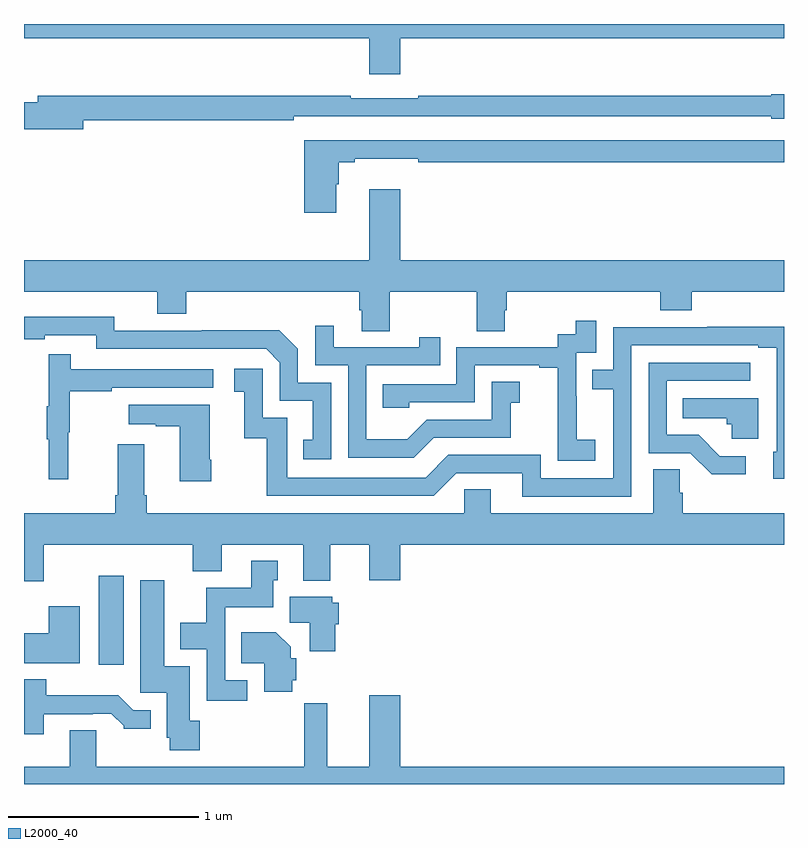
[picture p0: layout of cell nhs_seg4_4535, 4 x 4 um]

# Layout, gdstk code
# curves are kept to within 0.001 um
import gdstk
lib = gdstk.Library(unit=1e-6, precision=1e-09)
def R(c, l, rs):  # rectangles x0, y0, x1, y1
    for r in rs: c.add(gdstk.rectangle(r[:2], r[2:], *l))
def P(c, l, *ps):  # polygons
    for p in ps: c.add(gdstk.Polygon(p, *l))
L2000_40 = (2000, 40)

nhs_seg4_4535 = lib.new_cell('nhs_seg4_4535')
R(nhs_seg4_4535, L2000_40, [(355.394,789.528,355.525,789.997)])
P(nhs_seg4_4535, L2000_40, [(356.98,792.824),(359,792.824),(359,792.9),(355,792.9),(355,792.824),(356.816,792.824),(356.816,792.636),(356.98,792.636)],
  [(355.312,792.394),(356.42,792.394),(356.42,792.414),(358.932,792.414),(358.932,792.401),(359,792.401),(359,792.531),(358.932,792.531),(358.932,792.523),(357.076,792.523),(357.076,792.51),(356.72,792.51),(356.72,792.523),(355.073,792.523),(355.073,792.489),(355,792.489),(355,792.347),(355.312,792.347)],
  [(356.644,792.057),(356.657,792.057),(356.657,792.172),(356.74,792.172),(356.74,792.191),(357.076,792.191),(357.076,792.172),(359,792.172),(359,792.288),(356.474,792.288),(356.474,791.907),(356.644,791.907)],
  [(356.925,791.492),(357.382,791.492),(357.382,791.284),(357.529,791.284),(357.529,791.394),(357.542,791.394),(357.542,791.492),(358.349,791.492),(358.349,791.393),(358.514,791.393),(358.514,791.492),(359,791.492),(359,791.656),(356.98,791.656),(356.98,792.031),(356.816,792.031),(356.816,791.656),(355,791.656),(355,791.492),(355.7,791.492),(355.7,791.375),(355.853,791.375),(355.853,791.492),(356.765,791.492),(356.765,791.394),(356.777,791.394),(356.777,791.284),(356.925,791.284)],
  [(356.616,791.013),(356.442,791.013),(356.442,791.19),(356.344,791.288),(355.936,791.288),(355.936,791.286),(355.476,791.286),(355.476,791.359),(355,791.358),(355,791.242),(355.108,791.242),(355.108,791.262),(355.38,791.262),(355.38,791.19),(356.274,791.19),(356.346,791.118),(356.346,790.917),(356.519,790.917),(356.519,790.713),(356.47,790.713),(356.47,790.608),(356.616,790.608)],
  [(358.006,790.711),(357.908,790.711),(357.908,790.94),(357.906,790.94),(357.906,791.169),(358.011,791.169),(358.011,791.338),(357.903,791.338),(357.903,791.268),(357.81,791.268),(357.81,791.199),(357.276,791.199),(357.276,791.004),(356.887,791.004),(356.887,790.881),(357.027,790.881),(357.027,790.908),(357.372,790.908),(357.372,791.103),(357.713,791.103),(357.713,791.091),(357.809,791.091),(357.809,790.807),(357.808,790.807),(357.808,790.601),(358.006,790.601)],
  [(357.157,790.722),(357.561,790.722),(357.561,790.907),(357.61,790.907),(357.61,791.017),(357.462,791.017),(357.462,790.818),(357.12,790.818),(357.016,790.714),(356.802,790.714),(356.802,791.103),(357.191,791.103),(357.191,791.251),(357.08,791.251),(357.08,791.199),(356.629,791.199),(356.629,791.311),(356.532,791.311),(356.532,791.103),(356.706,791.103),(356.706,790.617),(357.052,790.617)],
  [(358.197,791.208),(358.865,791.208),(358.865,791.196),(358.962,791.196),(358.962,790.65),(358.943,790.65),(358.943,790.506),(359,790.506),(359,791.306),(358.597,791.306),(358.597,791.304),(358.101,791.304),(358.101,791.079),(357.991,791.079),(357.991,790.978),(358.101,790.978),(358.101,790.509),(357.72,790.509),(357.72,790.632),(357.234,790.632),(357.114,790.512),(356.385,790.512),(356.385,790.827),(356.256,790.827),(356.256,791.086),(356.106,791.086),(356.106,790.965),(356.159,790.965),(356.159,790.719),(356.277,790.719),(356.277,790.416),(357.156,790.416),(357.276,790.536),(357.623,790.536),(357.623,790.413),(358.197,790.413)],
  [(355.232,790.752),(355.24,790.752),(355.24,790.966),(355.463,790.966),(355.463,790.986),(355.996,790.986),(355.996,791.082),(355.247,791.082),(355.247,791.161),(355.13,791.161),(355.13,790.889),(355.119,790.889),(355.119,790.715),(355.13,790.715),(355.13,790.503),(355.232,790.503)],
  [(358.798,790.626),(358.663,790.626),(358.552,790.737),(358.383,790.737),(358.383,791.022),(358.822,791.022),(358.822,791.118),(358.287,791.118),(358.287,790.641),(358.506,790.641),(358.619,790.529),(358.798,790.529)],
  [(358.864,790.93),(358.468,790.93),(358.468,790.826),(358.699,790.826),(358.699,790.794),(358.725,790.794),(358.725,790.718),(358.864,790.718)],
  [(355.986,790.606),(355.978,790.606),(355.978,790.897),(355.551,790.897),(355.551,790.793),(355.694,790.793),(355.694,790.783),(355.82,790.783),(355.82,790.494),(355.986,790.494)],
  [(355.889,790.019),(356.041,790.019),(356.041,790.16),(356.471,790.16),(356.471,789.971),(356.611,789.971),(356.611,790.16),(356.816,790.16),(356.816,789.972),(356.98,789.972),(356.98,790.16),(359,790.16),(359,790.324),(358.466,790.324),(358.466,790.433),(358.452,790.433),(358.452,790.556),(358.313,790.556),(358.313,790.324),(357.457,790.324),(357.457,790.451),(357.318,790.451),(357.318,790.324),(355.646,790.324),(355.646,790.42),(355.633,790.42),(355.633,790.687),(355.493,790.687),(355.493,790.42),(355.481,790.42),(355.481,790.324),(355,790.324),(355,789.966),(355.105,789.966),(355.105,790.16),(355.889,790.16)],
  [(356.176,789.447),(356.058,789.447),(356.058,789.83),(356.311,789.83),(356.311,789.972),(356.335,789.972),(356.335,790.075),(356.195,790.075),(356.195,789.934),(355.96,789.934),(355.96,789.748),(355.823,789.748),(355.823,789.608),(355.962,789.608),(355.962,789.339),(356.176,789.339)],
  [(355.925,789.234),(355.873,789.234),(355.873,789.52),(355.738,789.52),(355.738,789.973),(355.613,789.973),(355.613,789.381),(355.751,789.381),(355.751,789.144),(355.768,789.144),(355.768,789.078),(355.925,789.078)],
  [(356.639,789.741),(356.657,789.741),(356.657,789.855),(356.622,789.855),(356.622,789.886),(356.399,789.886),(356.399,789.748),(356.505,789.748),(356.505,789.6),(356.639,789.6)],
  [(355.294,789.835),(355.13,789.835),(355.13,789.694),(355,789.694),(355,789.536),(355.294,789.536)],
  [(356.412,789.447),(356.433,789.447),(356.433,789.561),(356.404,789.561),(356.404,789.622),(356.326,789.7),(356.143,789.7),(356.143,789.536),(356.264,789.536),(356.264,789.386),(356.412,789.386)],
  [(355.105,789.267),(355.361,789.267),(355.361,789.27),(355.46,789.27),(355.524,789.206),(355.524,789.191),(355.666,789.191),(355.666,789.288),(355.575,789.288),(355.497,789.367),(355.118,789.367),(355.118,789.451),(355,789.451),(355,789.162),(355.105,789.162)],
  [(356.816,789.367),(356.816,788.992),(356.595,788.992),(356.595,789.325),(356.476,789.325),(356.476,788.992),(355.381,788.992),(355.381,789.182),(355.241,789.182),(355.241,788.992),(355,788.992),(355,788.9),(359,788.9),(359,788.992),(356.98,788.992),(356.98,789.367)])

lib.write_gds('nhs_seg4_4535.gds')
